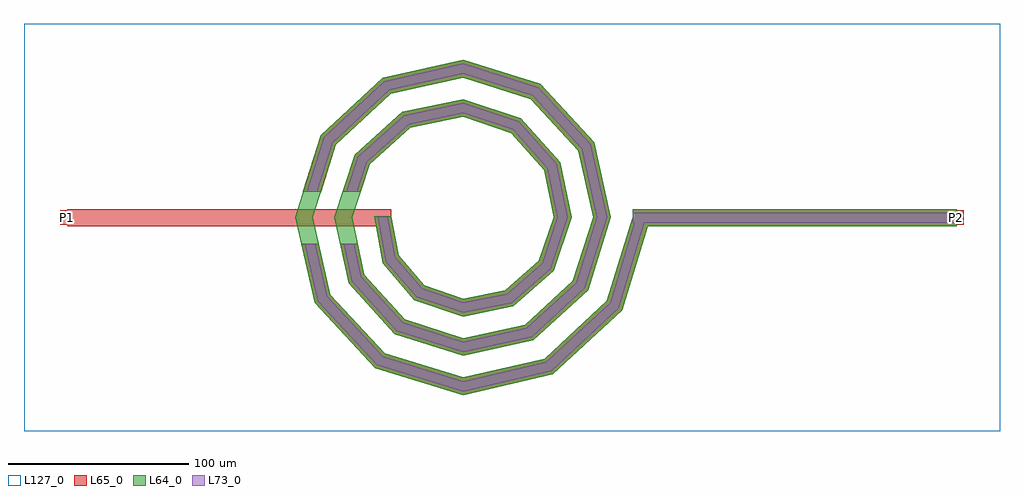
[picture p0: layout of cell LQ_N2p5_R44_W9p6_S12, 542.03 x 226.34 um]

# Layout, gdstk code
import gdstk
lib = gdstk.Library(unit=1e-6, precision=1e-09)
def R(c, l, rs):  # rectangles x0, y0, x1, y1
    for r in rs: c.add(gdstk.rectangle(r[:2], r[2:], *l))
def P(c, l, *ps):  # polygons
    for p in ps: c.add(gdstk.Polygon(p, *l))
L64_0 = (64, 0)
L65_0 = (65, 0)
L73_0 = (73, 0)
L127_0 = (127, 0)

lq_n2p5_r44_w9p6_s12 = lib.new_cell('LQ_N2p5_R44_W9p6_S12')
R(lq_n2p5_r44_w9p6_s12, L64_0, [(94.328,-4.8,274.328,4.8)])
P(lq_n2p5_r44_w9p6_s12, L64_0, [(-35.645,-21),(-21.291,-37.578),(0.337,-45.009),(23.696,-40.392),(42.289,-24.052),(50.469,0.304),(45.137,26.4),(26.808,47.003),(0.277,55.93),(-29.108,49.879),(-51.72,29.559),(-61.391,0.254),(-54.619,-31.82),(-32.307,-56.44),(0.235,-66.852),(34.535,-59.358),(61.161,-35.053),(72.314,0.218),(64.096,37.252),(37.797,65.883),(0.204,77.775),(-39.971,68.832),(-70.606,40.539),(-83.237,0.191),(-73.568,-42.691),(-43.28,-75.331),(0.18,-88.699),(45.413,-78.304),(80.056,-46.02),(94.537,1.402),(103.718,-1.402),(88.485,-51.287),(50.073,-87.083),(0.18,-98.632),(-48.565,-83.749),(-82.358,-47.333),(-93.169,0.191),(-79.013,45.843),(-44.591,77.633),(0.204,87.707),(43.124,74.275),(72.909,41.848),(82.244,0.218),(69.537,-40.405),(39.103,-68.186),(0.235,-76.781),(-37.689,-64.797),(-63.464,-36.356),(-71.319,0.254),(-60.056,34.975),(-33.605,58.744),(0.277,65.855),(32.264,55.313),(54.025,30.851),(60.392,0.304),(50.566,-29.558),(28.093,-49.309),(0.337,-54.928),(-26.856,-45.816),(-44.596,-25.327),(-49.222,0.893),(-39.79,0.893)])
R(lq_n2p5_r44_w9p6_s12, L65_0, [(-219.706,-4.8,-39.706,4.8), (94.328,-4.8,274.328,4.8), (-223.706,-4,-215.706,4), (270.328,-4,278.328,4)])
P(lq_n2p5_r44_w9p6_s12, L65_0, [(-73.568,-42.691),(-43.28,-75.331),(0.18,-88.699),(45.413,-78.304),(80.056,-46.02),(94.537,1.402),(103.718,-1.402),(88.485,-51.287),(50.073,-87.083),(0.18,-98.632),(-48.565,-83.749),(-82.358,-47.333),(-89.85,-14.4),(-80.005,-14.4)],
  [(-54.619,-31.82),(-32.307,-56.44),(0.235,-66.852),(34.535,-59.358),(61.161,-35.053),(72.314,0.218),(64.096,37.252),(37.797,65.883),(0.204,77.776),(-39.971,68.832),(-70.607,40.539),(-78.712,14.4),(-88.763,14.4),(-79.013,45.844),(-44.591,77.633),(0.204,87.707),(43.124,74.275),(72.909,41.848),(82.244,0.218),(69.537,-40.405),(39.103,-68.186),(0.235,-76.782),(-37.689,-64.797),(-63.464,-36.356),(-68.175,-14.4),(-58.356,-14.4)],
  [(-21.291,-37.578),(0.337,-45.009),(23.696,-40.392),(42.289,-24.052),(50.469,0.304),(45.137,26.4),(26.808,47.003),(0.277,55.93),(-29.108,49.879),(-51.72,29.559),(-56.638,14.4),(-66.73,14.4),(-60.056,34.975),(-33.605,58.744),(0.277,65.855),(32.264,55.313),(54.025,30.852),(60.392,0.304),(50.566,-29.558),(28.093,-49.309),(0.337,-54.928),(-26.856,-45.817),(-44.596,-25.327),(-49.223,0.893),(-39.79,0.893),(-35.645,-21)])
R(lq_n2p5_r44_w9p6_s12, L73_0, [(94.328,-2.8,274.328,2.8)])
P(lq_n2p5_r44_w9p6_s12, L73_0, [(-75.4,-43.658),(-44.381,-77.085),(0.105,-90.768),(46.384,-80.133),(81.812,-47.117),(96.45,0.818),(101.806,0.818),(86.729,-50.19),(49.102,-85.254),(0.105,-96.563),(-47.464,-81.995),(-80.527,-46.366),(-87.799,-14.4),(-82.056,-14.4)],
  [(-56.462,-32.765),(-33.428,-58.181),(0.137,-68.921),(35.487,-61.197),(62.906,-36.168),(74.383,0.127),(65.932,38.209),(38.907,67.632),(0.119,79.845),(-40.933,70.666),(-72.358,41.644),(-80.806,14.4),(-86.669,14.4),(-77.261,44.738),(-43.629,75.8),(0.119,85.638),(42.014,72.527),(71.073,40.89),(80.175,0.127),(67.792,-39.29),(38.151,-66.347),(0.137,-74.713),(-36.568,-63.056),(-61.622,-35.411),(-66.129,-14.4),(-60.402,-14.4)],
  [(-22.451,-39.294),(0.197,-47.075),(24.612,-42.25),(44.013,-25.199),(52.536,0.177),(46.989,27.327),(27.944,48.734),(0.162,57.998),(-30.045,51.726),(-53.457,30.687),(-58.74,14.4),(-64.627,14.4),(-58.319,33.847),(-32.668,56.897),(0.162,63.788),(31.128,53.581),(52.174,29.924),(58.325,0.177),(48.842,-28.411),(27.177,-47.451),(0.197,-52.862),(-25.697,-44.1),(-42.731,-24.426),(-47.257,0.521),(-41.755,0.521),(-37.51,-21.901)])
R(lq_n2p5_r44_w9p6_s12, L127_0, [(-243.706,-118.632,298.328,107.707)])
lq_n2p5_r44_w9p6_s12.add(gdstk.Label('P2', (274.328,0), layer=65, texttype=0))
lq_n2p5_r44_w9p6_s12.add(gdstk.Label('P1', (-219.706,0), layer=65, texttype=0))
lq_n2p5_r44_w9p6_s12.add(gdstk.Label('P2', (278.328,0), layer=145, texttype=0))
lq_n2p5_r44_w9p6_s12.add(gdstk.Label('P1', (-223.706,0), layer=145, texttype=0))

lib.write_gds('LQ_N2p5_R44_W9p6_S12.gds')
